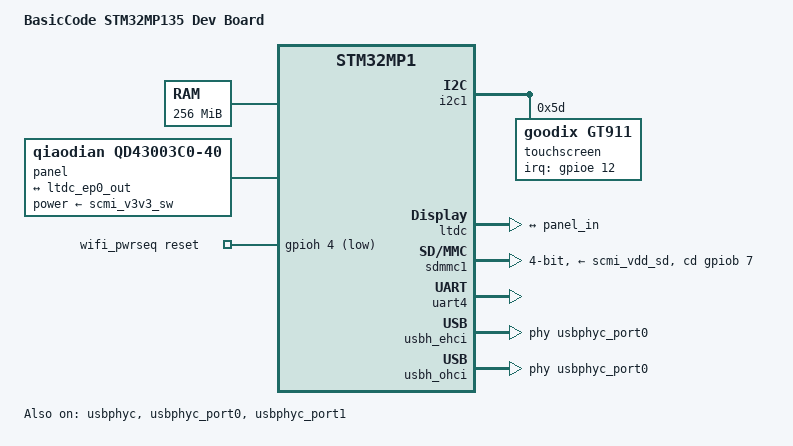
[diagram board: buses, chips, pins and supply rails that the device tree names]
// SPDX-License-Identifier: (GPL-2.0+ OR BSD-3-Clause)
/*
 * Copyright (C) STMicroelectronics 2019 - All Rights Reserved
 * Author: Alexandre Torgue <alexandre.torgue@st.com> for STMicroelectronics.
 */

/dts-v1/;

#include <dt-bindings/gpio/gpio.h>
#include <dt-bindings/input/input.h>
#include <dt-bindings/leds/common.h>
/*
 * NOTE: This file is in the linux source but has not been mainlined to uboot yet.
 * The current workaround is to just copy it from the linux source and paste it to
 * u-boot/include/dt-bindings/regulator
 */
#include <dt-bindings/regulator/st,stm32mp13-regulator.h>
#include "stm32mp135.dtsi"
#include "stm32mp13xf.dtsi"
#include "stm32mp13-pinctrl.dtsi"

/ {
	model = "BasicCode STM32MP135 Dev Board";
	compatible = "st,stm32mp135", "st,stm32mp1";

	aliases {
		serial0 = &uart4;
		serial1 = &usart3;
		serial2 = &uart7;
		serial3 = &usart2;
	};

	chosen {
		stdout-path = "serial0:115200n8";
	};

	memory@c0000000 {
		device_type = "memory";
		reg = <0xc0000000 0x10000000>;
	};

	// Orient Display 480x272
	panel {
		status = "okay";
		compatible = "qiaodian,qd43003c0-40", "simple-panel";
		power-supply = <&scmi_v3v3_sw>;
		ports {
			#address-cells = <1>;
			#size-cells = <0>;

			port@0 {
				reg = <0>;
				panel_in: endpoint {
					remote-endpoint = <&ltdc_ep0_out>;
				};
			};
		};
	};
	
	// WiFi Power Sequence (WIFI_UP)
	wifi_pwrseq: wifi_pwrseq {
		compatible = "mmc-pwrseq-simple";
		reset-gpios = <&gpioh 4 GPIO_ACTIVE_LOW>; // PH4
		post-power-on-delay-ms = <200>;
	};
};

/*
 * Pin Assignments
 */
&pinctrl {

};

/*
 * WiFi
 */
// TODO

/*
 * I2C peripherals
 */
&i2c1 {
	pinctrl-names = "default", "sleep";
	pinctrl-0 = <&i2c1_pins_a>;
	pinctrl-1 = <&i2c1_sleep_pins_a>;
	i2c-scl-rising-time-ns = <185>;
	i2c-scl-falling-time-ns = <20>;
	status = "okay";
	/delete-property/dmas;
	/delete-property/dma-names;

	/*
	//PCM3060 Audio Codec
	pcm3060: pcm3060@46 {
		compatible = "ti,pcm3060";
		reg = <0x46>;
		ti,out-single-ended = "true";
		clocks = <&sai1b>;
		clock-names = "MCLK";

		pcm3060_port: port {
			#address-cells = <1>;
			#size-cells = <0>;

			pcm3060_tx_endpoint: endpoint@0 {
				reg = <0>;
				remote-endpoint = <&sai1b_endpoint>;
				frame-master;
				bitclock-master;
			};
		};
	};
	*/

	//Orient Display Touch Panel
	touchscreen@5d {
		compatible = "goodix,gt911";
		reg = <0x5d>; //0x5d or 0x14
		interrupts = <12 2>;
		interrupt-parent = <&gpioe>;
		interrupt-controller;
		touchscreen-size-x = <480>;
		touchscreen-size-y = <272>;
		status = "okay";
	};
};


/*
 * The LTDC_DE
 */
&ltdc {
	status = "okay";
	pinctrl-names = "default", "sleep";
	pinctrl-0 = <&ltdc_pins_a>;
	pinctrl-1 = <&ltdc_sleep_pins_a>;

	port {
		ltdc_ep0_out: endpoint@0 {
			reg = <0>;
			remote-endpoint = <&panel_in>;
		};
	};
};


/*
 * SD card / Boot
 */
&sdmmc1 {
	pinctrl-names = "default", "opendrain", "sleep";
	pinctrl-0 = <&sdmmc1_b4_pins_a>;
	pinctrl-1 = <&sdmmc1_b4_od_pins_a>;
	pinctrl-2 = <&sdmmc1_b4_sleep_pins_a>;
	cd-gpios = <&gpiob 7 (GPIO_ACTIVE_HIGH | GPIO_PULL_DOWN)>; //STM32MP151_dev_board
	//cd-gpios = <&gpiob 7 (GPIO_ACTIVE_LOW | GPIO_PULL_UP)>; //STM32mp157c-dk2
	disable-wp;
	st,neg-edge;
	bus-width = <4>;
	vmmc-supply = <&scmi_vdd_sd>;
	status = "okay";
};

&uart4 {
	pinctrl-names = "default", "sleep", "idle";
	pinctrl-0 = <&uart4_pins_a>;
	pinctrl-1 = <&uart4_sleep_pins_a>;
	pinctrl-2 = <&uart4_idle_pins_a>;
	/delete-property/dmas;
	/delete-property/dma-names;
	status = "okay";
};


/*
 * USB Configuration
 */
&usbh_ehci {
	status = "okay";
	phys = <&usbphyc_port0>, <&usbphyc_port1 1>;
	phy-names = "usb", "usb";
};

&usbh_ohci {
	phys = <&usbphyc_port0>, <&usbphyc_port1 1>;
	phy-names = "usb", "usb";
	status = "okay";
};

&usbphyc {
	status = "okay";
};

&usbphyc_port0 {
	status="okay";
	phy-supply = <&scmi_vdd_usb>;
};

&usbphyc_port1 {
	status="okay";
	phy-supply = <&scmi_vdd_usb>;
};




/*
 * Regulators
 */
&scmi_regu {
	scmi_vddcpu: voltd-vddcpu {
		reg = <VOLTD_SCMI_STPMIC1_BUCK1>;
		regulator-name = "vddcpu";
	};
	scmi_vdd: voltd-vdd {
		reg = <VOLTD_SCMI_STPMIC1_BUCK3>;
		regulator-name = "vdd";
	};
	scmi_vddcore: voltd-vddcore {
		reg = <VOLTD_SCMI_STPMIC1_BUCK4>;
		regulator-name = "vddcore";
	};
	scmi_vdd_adc: voltd-vdd-adc {
		reg = <VOLTD_SCMI_STPMIC1_LDO1>;
		regulator-name = "vdd_adc";
	};
	scmi_vdd_usb: voltd-vdd-usb {
		reg = <VOLTD_SCMI_STPMIC1_LDO4>;
		regulator-name = "vdd_usb";
	};
	scmi_vdd_sd: voltd-vdd-sd {
		reg = <VOLTD_SCMI_STPMIC1_LDO5>;
		regulator-name = "vdd_sd";
	};
	scmi_v1v8_periph: voltd-v1v8-periph {
		reg = <VOLTD_SCMI_STPMIC1_LDO6>;
		regulator-name = "v1v8_periph";
	};
	scmi_v3v3_sw: voltd-v3v3-sw {
		reg = <VOLTD_SCMI_STPMIC1_PWR_SW2>;
		regulator-name = "v3v3_sw";
	};
};

/*
 * Audio
 */
/*
&sai1 {
	clocks = <&rcc SAI1>, <&rcc PLL3_Q>, <&rcc PLL3_R>;
	clock-names = "pclk", "i2sclk", "x8k", "x11k";
	pinctrl-names = "default", "sleep";
	pinctrl-0 = <&sai1b_pins_a>;
	pinctrl-1 = <&sai1b_sleep_pins_a>;
	status = "okay";

	sai1a: audio-controller@4400a004 {
		#clock-cells = <0>;
		status = "okay";
	};

	sai1b: audio-controller@4400a024 {
		clocks = <&rcc SAI1_K>, <&sai1a>;
		clock-names = "sai_ck", "MCLK";
		dma-names = "tx";
		status = "okay";

		sai1b_port: port {
			sai1b_endpoint: endpoint {
				remote-endpoint = <&pcm3060_tx_endpoint>;
				format = "i2s";
				mclk-fs = <256>;
				dai-tdm-slot-num = <2>;
				dai-tdm-slot-width = <32>;
			};
		};
	};
};
*/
